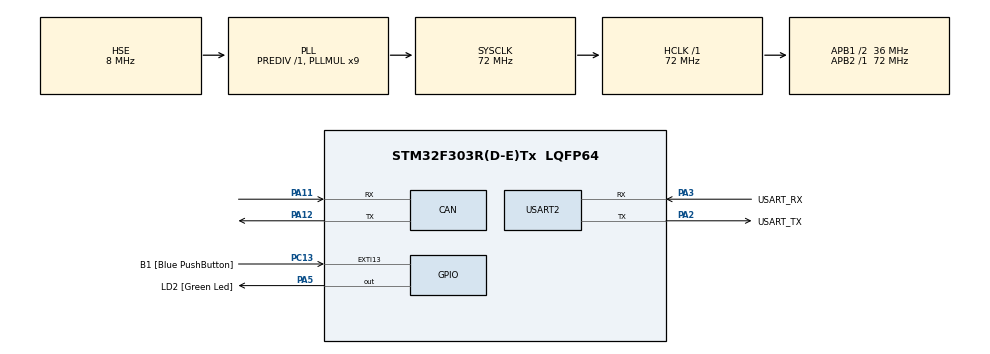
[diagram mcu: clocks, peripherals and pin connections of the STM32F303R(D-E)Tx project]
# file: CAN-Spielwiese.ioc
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CAN.CalculateTimeQuantum=444.44444444444446
Mcu.Family=STM32F3
Mcu.Name=STM32F303R(D-E)Tx
Mcu.Package=LQFP64
NVIC.PriorityGroup=NVIC_PRIORITYGROUP_0
PA11.Mode=Master
PA11.Signal=CAN_RX
PA12.Mode=Master
PA12.Signal=CAN_TX
PA13.GPIO_Label=TMS
PA13.Mode=Serial_Wire
PA13.Signal=SYS_JTMS-SWDIO
PA14.GPIO_Label=TCK
PA14.Mode=Serial_Wire
PA14.Signal=SYS_JTCK-SWCLK
PA2.GPIO_Label=USART_TX
PA2.GPIO_Mode=GPIO_MODE_AF_PP
PA2.GPIO_PuPd=GPIO_NOPULL
PA2.GPIO_Speed=GPIO_SPEED_FREQ_LOW
PA2.Mode=Asynchronous
PA2.Signal=USART2_TX
PA3.GPIO_Label=USART_RX
PA3.GPIO_Mode=GPIO_MODE_AF_PP
PA3.GPIO_PuPd=GPIO_NOPULL
PA3.GPIO_Speed=GPIO_SPEED_FREQ_LOW
PA3.Mode=Asynchronous
PA3.Signal=USART2_RX
PA5.GPIO_Label=LD2 [Green Led]
PA5.GPIO_Mode=GPIO_MODE_OUTPUT_PP
PA5.GPIO_PuPd=GPIO_NOPULL
PA5.GPIO_Speed=GPIO_SPEED_FREQ_LOW
PA5.Signal=GPIO_Output
PB3.GPIO_Label=SWO
PB3.Signal=SYS_JTDO-TRACESWO
PC13.GPIO_Label=B1 [Blue PushButton]
PC13.GPIO_ModeDefaultEXTI=GPIO_MODE_IT_FALLING
PC13.Signal=GPXTI13
PC14-OSC32_IN.Mode=LSE-External-Oscillator
PC14-OSC32_IN.Signal=RCC_OSC32_IN
PC15-OSC32_OUT.Mode=LSE-External-Oscillator
PC15-OSC32_OUT.Signal=RCC_OSC32_OUT
PF0-OSC_IN.Mode=HSE-External-Clock-Source
PF0-OSC_IN.Signal=RCC_OSC_IN
PF1-OSC_OUT.Signal=RCC_OSC_OUT
ProjectManager.HeapSize=0x200
ProjectManager.StackSize=0x400
ProjectManager.TargetToolchain=STM32CubeIDE
RCC.AHBFreq_Value=72000000
RCC.APB1CLKDivider=RCC_HCLK_DIV2
RCC.APB1Freq_Value=36000000
RCC.APB1TimFreq_Value=72000000
RCC.APB2Freq_Value=72000000
RCC.APB2TimFreq_Value=72000000
RCC.CortexFreq_Value=72000000
RCC.HCLKFreq_Value=72000000
RCC.HSE_VALUE=8000000
RCC.HSI_VALUE=8000000
RCC.PLLM=8
RCC.PLLMUL=RCC_PLL_MUL9
RCC.PLLN=336
RCC.PLLP=RCC_PLLP_DIV4
RCC.PLLQ=7
RCC.PLLSourceVirtual=RCC_PLLSOURCE_HSE
RCC.RCC_PLLsource_Clock_Source_FROM_HSE=RCC_HSE_PREDIV_DIV2
RCC.SYSCLKFreq_VALUE=72000000
RCC.SYSCLKSourceVirtual=RCC_SYSCLKSOURCE_PLLCLK
RCC.USBFreq_Value=72000000
USART2.VirtualMode-Asynchronous=VM_ASYNC
board=NUCLEO-F303RE

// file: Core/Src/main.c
/* USER CODE BEGIN Header */
/**
  ******************************************************************************
  * @file           : main.c
  * @brief          : Main program body
  ******************************************************************************
  * @attention
  *
  * <h2><center>&copy; Copyright (c) 2020 STMicroelectronics.
  * All rights reserved.</center></h2>
  *
  * This software component is licensed by ST under BSD 3-Clause license,
  * the "License"; You may not use this file except in compliance with the
  * License. You may obtain a copy of the License at:
  *                        opensource.org/licenses/BSD-3-Clause
  *
  ******************************************************************************
  */
/* USER CODE END Header */

#include "main.h"
#include <string.h>
#include <stdio.h>

CAN_HandleTypeDef hcan;

UART_HandleTypeDef huart2;

void SystemClock_Config(void);
static void MX_GPIO_Init(void);
static void MX_USART2_UART_Init(void);
static void MX_CAN_Init(void);
void CAN1_Tx(void);
void CAN1_Rx(void);
void CAN_Filter_Config(void);

int main(void)
{

  /* MCU Configuration--------------------------------------------------------*/

  /* Reset of all peripherals, Initializes the Flash interface and the Systick. */
  HAL_Init();

  /* Configure the system clock */
  SystemClock_Config();

  /* Initialize all configured peripherals */
  MX_GPIO_Init();
  MX_USART2_UART_Init();
  MX_CAN_Init();
  CAN_Filter_Config();
  if(HAL_CAN_ActivateNotification(&hcan, CAN_IT_TX_MAILBOX_EMPTY | CAN_IT_RX_FIFO0_MSG_PENDING | CAN_IT_BUSOFF) != HAL_OK)
  {
	  Error_Handler();
  }

  if( HAL_CAN_Start(&hcan) != HAL_OK)
  	{
  		Error_Handler();
  	}
  /* USER CODE BEGIN 2 */

  CAN1_Tx();
//  CAN1_Rx();

  /* USER CODE END 2 */

  /* Infinite loop */
  while (1)
  {

  }
}

void SystemClock_Config(void)
{
  RCC_OscInitTypeDef RCC_OscInitStruct = {0};
  RCC_ClkInitTypeDef RCC_ClkInitStruct = {0};
  RCC_PeriphCLKInitTypeDef PeriphClkInit = {0};

  /** Initializes the CPU, AHB and APB busses clocks
  */
  RCC_OscInitStruct.OscillatorType = RCC_OSCILLATORTYPE_HSE;
  RCC_OscInitStruct.HSEState = RCC_HSE_BYPASS;
  RCC_OscInitStruct.HSIState = RCC_HSI_ON;
  RCC_OscInitStruct.PLL.PLLState = RCC_PLL_ON;
  RCC_OscInitStruct.PLL.PLLSource = RCC_PLLSOURCE_HSE;
  RCC_OscInitStruct.PLL.PLLMUL = RCC_PLL_MUL9;
  RCC_OscInitStruct.PLL.PREDIV = RCC_PREDIV_DIV1;
  if (HAL_RCC_OscConfig(&RCC_OscInitStruct) != HAL_OK)
  {
    Error_Handler();
  }
  /** Initializes the CPU, AHB and APB busses clocks
  */
  RCC_ClkInitStruct.ClockType = RCC_CLOCKTYPE_HCLK|RCC_CLOCKTYPE_SYSCLK
                              |RCC_CLOCKTYPE_PCLK1|RCC_CLOCKTYPE_PCLK2;
  RCC_ClkInitStruct.SYSCLKSource = RCC_SYSCLKSOURCE_PLLCLK;
  RCC_ClkInitStruct.AHBCLKDivider = RCC_SYSCLK_DIV1;
  RCC_ClkInitStruct.APB1CLKDivider = RCC_HCLK_DIV2;
  RCC_ClkInitStruct.APB2CLKDivider = RCC_HCLK_DIV1;

  if (HAL_RCC_ClockConfig(&RCC_ClkInitStruct, FLASH_LATENCY_2) != HAL_OK)
  {
    Error_Handler();
  }
  PeriphClkInit.PeriphClockSelection = RCC_PERIPHCLK_USART2;
  PeriphClkInit.Usart2ClockSelection = RCC_USART2CLKSOURCE_PCLK1;
  if (HAL_RCCEx_PeriphCLKConfig(&PeriphClkInit) != HAL_OK)
  {
    Error_Handler();
  }
}

// Transmitting in loopback mode

void CAN1_Tx(void)
{

	CAN_TxHeaderTypeDef TxHeader;

	uint32_t TxMailbox;

	uint8_t our_message[5] = {'H','E','L','L','O'};

	TxHeader.DLC = 5;
	TxHeader.StdId = 0x65D;
	TxHeader.IDE   = CAN_ID_STD;
	TxHeader.RTR = CAN_RTR_DATA;

	if( HAL_CAN_AddTxMessage(&hcan,&TxHeader,our_message,&TxMailbox) != HAL_OK)
	{
		Error_Handler();
	}

//	while(HAL_CAN_IsTxMessagePending(&hcan,TxMailbox));
//
//	sprintf(msg,"Message Transmitted\r\n");
//	HAL_UART_Transmit(&huart2,(uint8_t*)msg,strlen(msg),HAL_MAX_DELAY);

}

static void MX_CAN_Init(void)
{

  /* USER CODE BEGIN CAN_Init 0 */
//
  /* USER CODE END CAN_Init 0 */

  /* USER CODE BEGIN CAN_Init 1 */
//
  /* USER CODE END CAN_Init 1 */
  hcan.Instance = CAN;
  hcan.Init.Mode = CAN_MODE_LOOPBACK;

  // Transmission with 200kBits/s
  hcan.Init.Prescaler = 9;
  hcan.Init.SyncJumpWidth = CAN_SJW_1TQ;
  hcan.Init.TimeSeg1 = CAN_BS1_13TQ;
  hcan.Init.TimeSeg2 = CAN_BS2_2TQ;

  hcan.Init.TimeTriggeredMode = DISABLE;
  hcan.Init.AutoBusOff = DISABLE;
  hcan.Init.AutoWakeUp = DISABLE;
  hcan.Init.AutoRetransmission = DISABLE;
  hcan.Init.ReceiveFifoLocked = DISABLE;
  hcan.Init.TransmitFifoPriority = DISABLE;
  if (HAL_CAN_Init(&hcan) != HAL_OK)
  {
    Error_Handler();
  }
  /* USER CODE BEGIN CAN_Init 2 */
//
  /* USER CODE END CAN_Init 2 */

}

static void MX_USART2_UART_Init(void)
{

  huart2.Instance = USART2;
  huart2.Init.BaudRate = 38400;
  huart2.Init.WordLength = UART_WORDLENGTH_8B;
  huart2.Init.StopBits = UART_STOPBITS_1;
  huart2.Init.Parity = UART_PARITY_NONE;
  huart2.Init.Mode = UART_MODE_TX_RX;
  huart2.Init.HwFlowCtl = UART_HWCONTROL_NONE;
  huart2.Init.OverSampling = UART_OVERSAMPLING_16;
  huart2.Init.OneBitSampling = UART_ONE_BIT_SAMPLE_DISABLE;
  huart2.AdvancedInit.AdvFeatureInit = UART_ADVFEATURE_NO_INIT;
  if (HAL_UART_Init(&huart2) != HAL_OK)
  {
    Error_Handler();
  }

}

void CAN_Filter_Config(void)
{
	CAN_FilterTypeDef can_filter_init;
	can_filter_init.FilterActivation = ENABLE;
	can_filter_init.FilterBank = 0;
	can_filter_init.FilterFIFOAssignment = CAN_RX_FIFO0;
	can_filter_init.FilterIdHigh = 0x0000;
	can_filter_init.FilterIdLow = 0x0000;
	can_filter_init.FilterMaskIdHigh = 0x0000;
	can_filter_init.FilterMaskIdLow = 0x0000;
	can_filter_init.FilterMode = CAN_FILTERMODE_IDMASK;
	can_filter_init.FilterScale = CAN_FILTERSCALE_32BIT;

	if(HAL_CAN_ConfigFilter(&hcan, &can_filter_init) != HAL_OK)
	{
		Error_Handler();
	}

}

//void CAN1_Rx(void)
//{
//	CAN_RxHeaderTypeDef RxHeader;
//	uint8_t rcvd_msg[5];
//	char msg[50];
//
//	// Check if at least one message is in the RX FIFO
//	while(! HAL_CAN_GetRxFifoFillLevel(&hcan, CAN_RX_FIFO0));
//
//
//	if(HAL_CAN_GetRxMessage(&hcan, CAN_RX_FIFO0,&RxHeader, rcvd_msg) != HAL_OK)
//	{
//		Error_Handler();
//	}
//
//	sprintf(msg,"Message Received : %s\r\n",rcvd_msg);
//	HAL_UART_Transmit(&huart2,(uint8_t*)msg,strlen(msg),HAL_MAX_DELAY);
//
//
//
//}

static void MX_GPIO_Init(void)
{
  GPIO_InitTypeDef GPIO_InitStruct = {0};

  /* GPIO Ports Clock Enable */
  __HAL_RCC_GPIOC_CLK_ENABLE();
  __HAL_RCC_GPIOF_CLK_ENABLE();
  __HAL_RCC_GPIOA_CLK_ENABLE();
  __HAL_RCC_GPIOB_CLK_ENABLE();

  /*Configure GPIO pin Output Level */
  HAL_GPIO_WritePin(LD2_GPIO_Port, LD2_Pin, GPIO_PIN_RESET);

  /*Configure GPIO pin : B1_Pin */
  GPIO_InitStruct.Pin = B1_Pin;
  GPIO_InitStruct.Mode = GPIO_MODE_IT_FALLING;
  GPIO_InitStruct.Pull = GPIO_NOPULL;
  HAL_GPIO_Init(B1_GPIO_Port, &GPIO_InitStruct);

  /*Configure GPIO pin : LD2_Pin */
  GPIO_InitStruct.Pin = LD2_Pin;
  GPIO_InitStruct.Mode = GPIO_MODE_OUTPUT_PP;
  GPIO_InitStruct.Pull = GPIO_NOPULL;
  GPIO_InitStruct.Speed = GPIO_SPEED_FREQ_LOW;
  HAL_GPIO_Init(LD2_GPIO_Port, &GPIO_InitStruct);

}

/* USER CODE BEGIN 4 */
void HAL_CAN_TxMailbox0CompleteCallback(CAN_HandleTypeDef *hcan)
{
	char msg[50];
	sprintf(msg,"Message Transmitted M0\r\n");
	HAL_UART_Transmit(&huart2,(uint8_t*)msg,strlen(msg),HAL_MAX_DELAY);
}
void HAL_CAN_TxMailbox1CompleteCallback(CAN_HandleTypeDef *hcan)
{
	char msg[50];
	sprintf(msg,"Message Transmitted M1\r\n");
	HAL_UART_Transmit(&huart2,(uint8_t*)msg,strlen(msg),HAL_MAX_DELAY);
}

void HAL_CAN_TxMailbox2CompleteCallback(CAN_HandleTypeDef *hcan)
{
	char msg[50];
	sprintf(msg,"Message Transmitted M2\r\n");
	HAL_UART_Transmit(&huart2,(uint8_t*)msg,strlen(msg),HAL_MAX_DELAY);
}
void HAL_CAN_RxFifo0MsgPendingCallback(CAN_HandleTypeDef *hcan)
{
		CAN_RxHeaderTypeDef RxHeader;
		uint8_t rcvd_msg[5];
		char msg[50];

// Why incompatible pointer type when used &hcan instead of just hcan?
		if(HAL_CAN_GetRxMessage(hcan, CAN_RX_FIFO0,&RxHeader, rcvd_msg) != HAL_OK)
		{
			Error_Handler();
		}

		sprintf(msg,"Message Received : %s\r\n",rcvd_msg);
		HAL_UART_Transmit(&huart2,(uint8_t*)msg,strlen(msg),HAL_MAX_DELAY);

}

void HAL_CAN_ErrorCallback(CAN_HandleTypeDef *hcan)
{
	char msg[50];
	sprintf(msg,"CAN Error Detection: \r\n");
	HAL_UART_Transmit(&huart2,(uint8_t*)msg,strlen(msg),HAL_MAX_DELAY);

}

/* USER CODE END 4 */

void Error_Handler(void)
{
}

/************************ (C) COPYRIGHT STMicroelectronics *****END OF FILE****/
